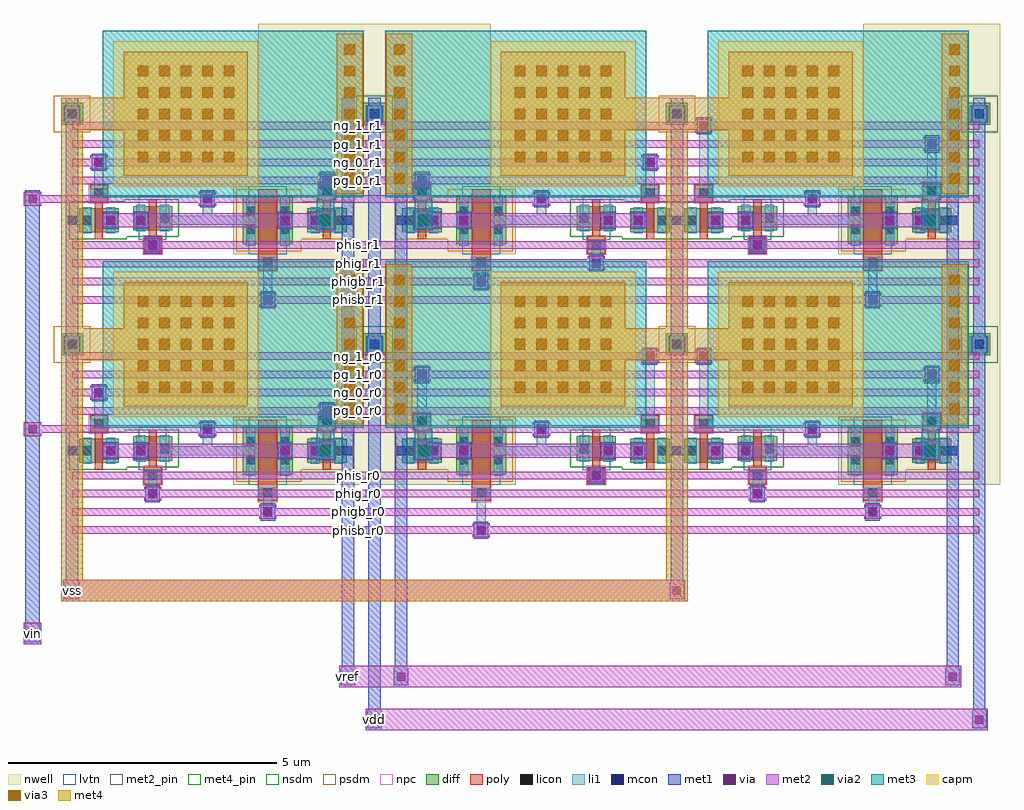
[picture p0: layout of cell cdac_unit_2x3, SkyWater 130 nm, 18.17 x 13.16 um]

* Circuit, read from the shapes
.subckt cdac_unit_2x3 ng_0_r0 ng_0_r1 ng_1_r0 ng_1_r1 pg_0_r0 pg_0_r1 pg_1_r0 pg_1_r1 phig_r0 phig_r1 phigb_r0 phigb_r1 phis_r0 phis_r1 phisb_r0 phisb_r1 top vdd vin vref vss
XM1 n1 ng_0_r0 vss VSUBS sky130_fd_pr__nfet_01v8 w=0.45 l=0.15
XM2 n2 ng_0_r1 vss VSUBS sky130_fd_pr__nfet_01v8 w=0.45 l=0.15
XM3 vin phig_r0 n1 VSUBS sky130_fd_pr__nfet_01v8_lvt w=0.45 l=0.15
XM4 vin phis_r1 n2 VSUBS sky130_fd_pr__nfet_01v8_lvt w=0.45 l=0.15
XM5 n3 phis_r0 vin VSUBS sky130_fd_pr__nfet_01v8_lvt w=0.45 l=0.15
XM6 n4 phig_r1 vin VSUBS sky130_fd_pr__nfet_01v8_lvt w=0.45 l=0.15
XM7 vss ng_1_r0 n3 VSUBS sky130_fd_pr__nfet_01v8 w=0.45 l=0.15
XM8 vss ng_0_r1 n4 VSUBS sky130_fd_pr__nfet_01v8 w=0.45 l=0.15
XM9 n5 ng_1_r0 vss VSUBS sky130_fd_pr__nfet_01v8 w=0.45 l=0.15
XM10 n6 ng_1_r1 vss VSUBS sky130_fd_pr__nfet_01v8 w=0.45 l=0.15
XM11 vin phig_r0 n5 VSUBS sky130_fd_pr__nfet_01v8_lvt w=0.45 l=0.15
XM12 vin phis_r1 n6 VSUBS sky130_fd_pr__nfet_01v8_lvt w=0.45 l=0.15
XM13 n1 phigb_r0 vin n7 sky130_fd_pr__pfet_01v8_lvt w=0.9 l=0.35
XM14 n2 phisb_r1 vin n7 sky130_fd_pr__pfet_01v8_lvt w=0.9 l=0.35
XM15 vref pg_0_r0 n1 n7 sky130_fd_pr__pfet_01v8 w=0.45 l=0.15
XM16 vref pg_0_r1 n2 n7 sky130_fd_pr__pfet_01v8 w=0.45 l=0.15
XM17 n3 pg_1_r0 vref n7 sky130_fd_pr__pfet_01v8 w=0.45 l=0.15
XM18 n4 pg_0_r1 vref n7 sky130_fd_pr__pfet_01v8 w=0.45 l=0.15
XM19 vin phisb_r0 n3 n7 sky130_fd_pr__pfet_01v8_lvt w=0.9 l=0.35
XM20 vin phigb_r1 n4 n7 sky130_fd_pr__pfet_01v8_lvt w=0.9 l=0.35
XM21 n5 phigb_r0 vin n8 sky130_fd_pr__pfet_01v8_lvt w=0.9 l=0.35
XM22 n6 phisb_r1 vin n8 sky130_fd_pr__pfet_01v8_lvt w=0.9 l=0.35
XM23 vref pg_1_r0 n5 n8 sky130_fd_pr__pfet_01v8 w=0.45 l=0.15
XM24 vref pg_1_r1 n6 n8 sky130_fd_pr__pfet_01v8 w=0.45 l=0.15
XC25 top n1 sky130_fd_pr__cap_mim_m3_1 w=2.7 l=2.7
XC26 top n2 sky130_fd_pr__cap_mim_m3_1 w=2.7 l=2.7
XC27 top n3 sky130_fd_pr__cap_mim_m3_1 w=2.7 l=2.7
XC28 top n4 sky130_fd_pr__cap_mim_m3_1 w=2.7 l=2.7
XC29 top n5 sky130_fd_pr__cap_mim_m3_1 w=2.7 l=2.7
XC30 top n6 sky130_fd_pr__cap_mim_m3_1 w=2.7 l=2.7
.ends

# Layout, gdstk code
import gdstk
lib = gdstk.Library(unit=1e-6, precision=5e-09)
def R(c, l, rs):  # rectangles x0, y0, x1, y1
    for r in rs: c.add(gdstk.rectangle(r[:2], r[2:], *l))
def A(c, l, x, y, w, h, nx, ny, dx, dy):  # array of equal rectangles
    R(c, l, [(x+i*dx, y+j*dy, x+i*dx+w, y+j*dy+h) for i in range(nx) for j in range(ny)])
nwell = (64, 20)
diff = (65, 20)
poly = (66, 20)
licon = (66, 44)
li1 = (67, 20)
mcon = (67, 44)
met1 = (68, 20)
via = (68, 44)
met2_pin = (69, 16)
met2 = (69, 20)
via2 = (69, 44)
met3 = (70, 20)
via3 = (70, 44)
met4_pin = (71, 16)
met4 = (71, 20)
capm = (89, 44)
nsdm = (93, 44)
psdm = (94, 20)
npc = (95, 20)
lvtn = (125, 44)

cdac_unit_2x3 = lib.new_cell('cdac_unit_2x3')
R(cdac_unit_2x3, nwell, [(3,1.375,6.015,2.635), (3.47,1.375,6.015,5.665), (5.245,1.375,8.26,2.635), (5.245,1.375,7.79,5.665), (14.26,1.375,17.275,2.635), (14.73,1.375,17.275,5.665), (3,5.665,6.015,6.925), (3.47,5.665,6.015,9.955), (5.245,5.665,8.26,6.925), (5.245,5.665,7.79,9.955), (14.26,5.665,17.275,6.925), (14.73,5.665,17.275,9.955)])
R(cdac_unit_2x3, diff, [(3.18,1.555,4.11,2.455), (7.15,1.555,8.08,2.455), (14.44,1.555,15.37,2.455), (0.135,1.78,0.865,2.23), (4.38,1.78,5.11,2.23), (6.15,1.78,6.88,2.23), (10.395,1.78,11.125,2.23), (11.395,1.78,12.125,2.23), (15.64,1.78,16.37,2.23), (1.135,1.82,1.865,2.27), (9.395,1.82,10.125,2.27), (12.395,1.82,13.125,2.27), (-0.205,3.78,0.205,4.19), (5.425,3.78,5.835,4.19), (5.425,3.78,5.835,4.19), (11.055,3.78,11.465,4.19), (11.055,3.78,11.465,4.19), (16.685,3.78,17.095,4.19), (3.18,5.845,4.11,6.745), (7.15,5.845,8.08,6.745), (14.44,5.845,15.37,6.745), (0.135,6.07,0.865,6.52), (4.38,6.07,5.11,6.52), (6.15,6.07,6.88,6.52), (10.395,6.07,11.125,6.52), (11.395,6.07,12.125,6.52), (15.64,6.07,16.37,6.52), (1.135,6.11,1.865,6.56), (9.395,6.11,10.125,6.56), (12.395,6.11,13.125,6.56), (-0.205,8.07,0.205,8.48), (5.425,8.07,5.835,8.48), (5.425,8.07,5.835,8.48), (11.055,8.07,11.465,8.48), (11.055,8.07,11.465,8.48), (16.685,8.07,17.095,8.48)])
R(cdac_unit_2x3, poly, [(3.47,1.07,3.82,2.585), (7.44,1.07,7.79,2.585), (14.73,1.07,15.08,2.585), (1.335,1.38,1.665,1.71), (9.595,1.38,9.925,1.71), (12.595,1.38,12.925,1.71), (0.425,1.65,0.575,2.34), (4.67,1.65,4.82,2.385), (6.44,1.65,6.59,2.385), (10.685,1.65,10.835,2.34), (11.685,1.65,11.835,2.34), (15.93,1.65,16.08,2.385), (1.425,1.71,1.575,2.4), (9.685,1.71,9.835,2.4), (12.685,1.71,12.835,2.4), (0.335,2.34,0.665,2.67), (10.595,2.34,10.925,2.67), (11.595,2.34,11.925,2.67), (4.58,2.385,4.91,2.715), (6.35,2.385,6.68,2.715), (15.84,2.385,16.17,2.715), (3.47,5.36,3.82,6.875), (7.44,5.36,7.79,6.875), (14.73,5.36,15.08,6.875), (1.335,5.67,1.665,6), (9.595,5.67,9.925,6), (12.595,5.67,12.925,6), (0.425,5.94,0.575,6.63), (4.67,5.94,4.82,6.675), (6.44,5.94,6.59,6.675), (10.685,5.94,10.835,6.63), (11.685,5.94,11.835,6.63), (15.93,5.94,16.08,6.675), (1.425,6,1.575,6.69), (9.685,6,9.835,6.69), (12.685,6,12.835,6.69), (0.335,6.63,0.665,6.96), (10.595,6.63,10.925,6.96), (11.595,6.63,11.925,6.96), (4.58,6.675,4.91,7.005), (6.35,6.675,6.68,7.005), (15.84,6.675,16.17,7.005)])
R(cdac_unit_2x3, licon, [(3.56,1.15,3.73,1.32), (7.53,1.15,7.7,1.32), (14.82,1.15,14.99,1.32), (1.415,1.46,1.585,1.63), (9.675,1.46,9.845,1.63), (12.675,1.46,12.845,1.63), (3.24,1.75,3.41,1.92), (3.88,1.75,4.05,1.92), (7.21,1.75,7.38,1.92), (7.85,1.75,8.02,1.92), (14.5,1.75,14.67,1.92), (15.14,1.75,15.31,1.92), (0.195,1.92,0.365,2.09), (0.635,1.92,0.805,2.09), (4.44,1.92,4.61,2.09), (4.88,1.92,5.05,2.09), (6.21,1.92,6.38,2.09), (6.65,1.92,6.82,2.09), (10.455,1.92,10.625,2.09), (10.895,1.92,11.065,2.09), (11.455,1.92,11.625,2.09), (11.895,1.92,12.065,2.09), (15.7,1.92,15.87,2.09), (16.14,1.92,16.31,2.09), (1.195,1.96,1.365,2.13), (1.635,1.96,1.805,2.13), (9.455,1.96,9.625,2.13), (9.895,1.96,10.065,2.13), (12.455,1.96,12.625,2.13), (12.895,1.96,13.065,2.13), (3.24,2.09,3.41,2.26), (3.88,2.09,4.05,2.26), (7.21,2.09,7.38,2.26), (7.85,2.09,8.02,2.26), (14.5,2.09,14.67,2.26), (15.14,2.09,15.31,2.26), (0.415,2.42,0.585,2.59), (10.675,2.42,10.845,2.59), (11.675,2.42,11.845,2.59), (4.66,2.465,4.83,2.635), (6.43,2.465,6.6,2.635), (15.92,2.465,16.09,2.635), (-0.085,3.9,0.085,4.07), (5.545,3.9,5.715,4.07), (5.545,3.9,5.715,4.07), (11.175,3.9,11.345,4.07), (11.175,3.9,11.345,4.07), (16.805,3.9,16.975,4.07), (3.56,5.44,3.73,5.61), (7.53,5.44,7.7,5.61), (14.82,5.44,14.99,5.61), (1.415,5.75,1.585,5.92), (9.675,5.75,9.845,5.92), (12.675,5.75,12.845,5.92), (3.24,6.04,3.41,6.21), (3.88,6.04,4.05,6.21), (7.21,6.04,7.38,6.21), (7.85,6.04,8.02,6.21), (14.5,6.04,14.67,6.21), (15.14,6.04,15.31,6.21), (0.195,6.21,0.365,6.38), (0.635,6.21,0.805,6.38), (4.44,6.21,4.61,6.38), (4.88,6.21,5.05,6.38), (6.21,6.21,6.38,6.38), (6.65,6.21,6.82,6.38), (10.455,6.21,10.625,6.38), (10.895,6.21,11.065,6.38), (11.455,6.21,11.625,6.38), (11.895,6.21,12.065,6.38), (15.7,6.21,15.87,6.38), (16.14,6.21,16.31,6.38), (1.195,6.25,1.365,6.42), (1.635,6.25,1.805,6.42), (9.455,6.25,9.625,6.42), (9.895,6.25,10.065,6.42), (12.455,6.25,12.625,6.42), (12.895,6.25,13.065,6.42), (3.24,6.38,3.41,6.55), (3.88,6.38,4.05,6.55), (7.21,6.38,7.38,6.55), (7.85,6.38,8.02,6.55), (14.5,6.38,14.67,6.55), (15.14,6.38,15.31,6.55), (0.415,6.71,0.585,6.88), (10.675,6.71,10.845,6.88), (11.675,6.71,11.845,6.88), (4.66,6.755,4.83,6.925), (6.43,6.755,6.6,6.925), (15.92,6.755,16.09,6.925), (-0.085,8.19,0.085,8.36), (5.545,8.19,5.715,8.36), (5.545,8.19,5.715,8.36), (11.175,8.19,11.345,8.36), (11.175,8.19,11.345,8.36), (16.805,8.19,16.975,8.36)])
R(cdac_unit_2x3, li1, [(7.53,0.44,7.7,1.32), (3.56,0.78,3.73,1.32), (14.82,0.78,14.99,1.32), (1.415,1.12,1.585,1.63), (12.675,1.12,12.845,1.63), (3.47,1.15,3.82,1.32), (7.44,1.15,7.79,1.32), (14.73,1.15,15.08,1.32), (1.335,1.46,1.665,1.63), (9.595,1.46,9.925,1.63), (9.675,1.46,9.845,1.63), (12.595,1.46,12.925,1.63), (3.24,1.535,3.41,2.475), (3.88,1.535,4.05,2.475), (7.21,1.535,7.38,2.475), (7.85,1.535,8.02,2.475), (14.5,1.535,14.67,2.475), (15.14,1.535,15.31,2.475), (0.195,1.76,0.365,2.25), (0.635,1.76,0.805,2.25), (4.44,1.76,4.61,2.25), (4.88,1.76,5.05,2.25), (6.21,1.76,6.38,2.25), (6.65,1.76,6.82,2.25), (10.455,1.76,10.625,2.25), (10.895,1.76,11.065,2.25), (11.455,1.76,11.625,2.25), (11.895,1.76,12.065,2.25), (15.7,1.76,15.87,2.25), (16.14,1.76,16.31,2.25), (1.195,1.8,1.365,2.29), (1.635,1.8,1.805,2.29), (9.455,1.8,9.625,2.29), (9.895,1.8,10.065,2.29), (12.455,1.8,12.625,2.29), (12.895,1.8,13.065,2.29), (-0.085,1.92,0.28,2.09), (1.72,1.92,3.325,2.09), (4.965,1.92,5.22,2.09), (6.04,1.92,6.295,2.09), (7.935,1.92,9.54,2.09), (10.98,1.92,11.345,2.09), (11.175,1.92,11.54,2.09), (12.98,1.92,14.585,2.09), (16.225,1.92,16.48,2.09), (2.435,2.005,2.605,2.49), (8.655,2.005,8.825,2.49), (13.695,2.005,13.865,2.49), (0.335,2.42,0.665,2.59), (0.415,2.42,0.585,3.17), (10.595,2.42,10.925,2.59), (10.675,2.42,10.845,3.85), (11.595,2.42,11.925,2.59), (11.675,2.42,11.845,3.85), (4.58,2.465,4.91,2.635), (4.66,2.465,4.83,2.83), (6.35,2.465,6.68,2.635), (6.43,2.465,6.6,3.51), (15.84,2.465,16.17,2.635), (15.92,2.465,16.09,3.51), (-0.165,3.82,0.165,4.15), (5.465,3.82,5.795,4.15), (5.465,3.82,5.795,4.15), (11.095,3.82,11.425,4.15), (11.095,3.82,11.425,4.15), (16.725,3.82,17.055,4.15), (3.56,4.73,3.73,5.61), (14.82,4.73,14.99,5.61), (7.53,5.07,7.7,5.61), (9.675,5.41,9.845,5.92), (3.47,5.44,3.82,5.61), (7.44,5.44,7.79,5.61), (14.73,5.44,15.08,5.61), (1.335,5.75,1.665,5.92), (1.415,5.75,1.585,5.92), (9.595,5.75,9.925,5.92), (12.595,5.75,12.925,5.92), (12.675,5.75,12.845,5.92), (3.24,5.825,3.41,6.765), (3.88,5.825,4.05,6.765), (7.21,5.825,7.38,6.765), (7.85,5.825,8.02,6.765), (14.5,5.825,14.67,6.765), (15.14,5.825,15.31,6.765), (0.195,6.05,0.365,6.54), (0.635,6.05,0.805,6.54), (4.44,6.05,4.61,6.54), (4.88,6.05,5.05,6.54), (6.21,6.05,6.38,6.54), (6.65,6.05,6.82,6.54), (10.455,6.05,10.625,6.54), (10.895,6.05,11.065,6.54), (11.455,6.05,11.625,6.54), (11.895,6.05,12.065,6.54), (15.7,6.05,15.87,6.54), (16.14,6.05,16.31,6.54), (1.195,6.09,1.365,6.58), (1.635,6.09,1.805,6.58), (9.455,6.09,9.625,6.58), (9.895,6.09,10.065,6.58), (12.455,6.09,12.625,6.58), (12.895,6.09,13.065,6.58), (-0.085,6.21,0.28,6.38), (1.72,6.21,3.325,6.38), (4.965,6.21,5.22,6.38), (6.04,6.21,6.295,6.38), (7.935,6.21,9.54,6.38), (10.98,6.21,11.345,6.38), (11.175,6.21,11.54,6.38), (12.98,6.21,14.585,6.38), (16.225,6.21,16.48,6.38), (2.435,6.295,2.605,6.78), (8.655,6.295,8.825,6.78), (13.695,6.295,13.865,6.78), (0.335,6.71,0.665,6.88), (0.415,6.71,0.585,7.46), (10.595,6.71,10.925,6.88), (10.675,6.71,10.845,7.46), (11.595,6.71,11.925,6.88), (11.675,6.71,11.845,8.14), (4.58,6.755,4.91,6.925), (4.66,6.755,4.83,7.12), (6.35,6.755,6.68,6.925), (6.43,6.755,6.6,7.12), (15.84,6.755,16.17,6.925), (15.92,6.755,16.09,7.8), (-0.165,8.11,0.165,8.44), (5.465,8.11,5.795,8.44), (5.465,8.11,5.795,8.44), (11.095,8.11,11.425,8.44), (11.095,8.11,11.425,8.44), (16.725,8.11,17.055,8.44)])
R(cdac_unit_2x3, mcon, [(7.53,0.44,7.7,0.61), (3.56,0.78,3.73,0.95), (14.82,0.78,14.99,0.95), (1.415,1.12,1.585,1.29), (12.675,1.12,12.845,1.29), (9.675,1.46,9.845,1.63), (-0.085,1.92,0.085,2.09), (0.635,1.92,0.805,2.09), (1.195,1.92,1.365,2.09), (3.88,1.92,4.05,2.09), (4.44,1.92,4.61,2.09), (5.05,1.92,5.22,2.09), (6.04,1.92,6.21,2.09), (6.65,1.92,6.82,2.09), (7.21,1.92,7.38,2.09), (9.895,1.92,10.065,2.09), (10.455,1.92,10.625,2.09), (11.175,1.92,11.345,2.09), (11.175,1.92,11.345,2.09), (11.895,1.92,12.065,2.09), (12.455,1.92,12.625,2.09), (15.14,1.92,15.31,2.09), (15.7,1.92,15.87,2.09), (16.31,1.92,16.48,2.09), (2.435,2.32,2.605,2.49), (8.655,2.32,8.825,2.49), (13.695,2.32,13.865,2.49), (4.66,2.66,4.83,2.83), (0.415,3,0.585,3.17), (6.43,3.34,6.6,3.51), (15.92,3.34,16.09,3.51), (10.675,3.68,10.845,3.85), (11.675,3.68,11.845,3.85), (-0.085,3.9,0.085,4.07), (5.545,3.9,5.715,4.07), (5.545,3.9,5.715,4.07), (11.175,3.9,11.345,4.07), (11.175,3.9,11.345,4.07), (16.805,3.9,16.975,4.07), (3.56,4.73,3.73,4.9), (14.82,4.73,14.99,4.9), (7.53,5.07,7.7,5.24), (9.675,5.41,9.845,5.58), (1.415,5.75,1.585,5.92), (12.675,5.75,12.845,5.92), (-0.085,6.21,0.085,6.38), (0.635,6.21,0.805,6.38), (1.195,6.21,1.365,6.38), (3.88,6.21,4.05,6.38), (4.44,6.21,4.61,6.38), (5.05,6.21,5.22,6.38), (6.04,6.21,6.21,6.38), (6.65,6.21,6.82,6.38), (7.21,6.21,7.38,6.38), (9.895,6.21,10.065,6.38), (10.455,6.21,10.625,6.38), (11.175,6.21,11.345,6.38), (11.175,6.21,11.345,6.38), (11.895,6.21,12.065,6.38), (12.455,6.21,12.625,6.38), (15.14,6.21,15.31,6.38), (15.7,6.21,15.87,6.38), (16.31,6.21,16.48,6.38), (2.435,6.61,2.605,6.78), (8.655,6.61,8.825,6.78), (13.695,6.61,13.865,6.78), (4.66,6.95,4.83,7.12), (6.43,6.95,6.6,7.12), (0.415,7.29,0.585,7.46), (10.675,7.29,10.845,7.46), (15.92,7.63,16.09,7.8), (11.675,7.97,11.845,8.14), (-0.085,8.19,0.085,8.36), (5.545,8.19,5.715,8.36), (5.545,8.19,5.715,8.36), (11.175,8.19,11.345,8.36), (11.175,8.19,11.345,8.36), (16.805,8.19,16.975,8.36)])
R(cdac_unit_2x3, met1, [(5.495,-3.16,5.765,-2.84), (16.755,-3.16,17.025,-2.84), (5.515,-3,5.745,0), (16.775,-3,17.005,0), (5,-2.36,5.27,-2.04), (5.99,-2.36,6.26,-2.04), (16.26,-2.36,16.53,-2.04), (5.02,-2.2,5.25,0), (6.01,-2.2,6.24,0), (16.28,-2.2,16.51,0), (-0.87,-1.56,-0.6,-1.24), (-0.87,-1.4,-0.6,6.695), (-0.135,-0.76,0.135,-0.44), (11.125,-0.76,11.395,-0.44), (-0.115,-0.6,0.115,0), (11.145,-0.6,11.375,0), (-0.115,0,0.115,4.29), (5.02,0,5.25,4.29), (5.515,0,5.745,4.29), (5.515,0,5.745,4.29), (6.01,0,6.24,4.29), (11.145,0,11.375,4.29), (11.145,0,11.375,4.29), (16.28,0,16.51,4.29), (16.775,0,17.005,4.29), (7.48,0.365,7.75,0.685), (3.51,0.705,3.78,1.025), (14.77,0.705,15.04,1.025), (1.365,1.045,1.635,1.365), (12.625,1.045,12.895,1.365), (9.625,1.385,9.895,1.705), (0.585,1.845,0.855,2.165), (1.145,1.845,1.415,2.165), (3.83,1.845,4.1,2.165), (4.39,1.845,4.66,2.165), (6.6,1.845,6.87,2.165), (7.16,1.845,7.43,2.165), (9.845,1.845,10.115,2.165), (10.405,1.845,10.675,2.165), (11.845,1.845,12.115,2.165), (12.405,1.845,12.675,2.165), (15.09,1.845,15.36,2.165), (15.65,1.845,15.92,2.165), (-0.115,1.865,0.115,2.145), (5.02,1.865,5.25,2.145), (6.01,1.865,6.24,2.145), (11.145,1.865,11.375,2.145), (11.145,1.865,11.375,2.145), (16.28,1.865,16.51,2.145), (-0.87,2.245,-0.6,2.565), (2.385,2.245,2.655,2.565), (8.605,2.245,8.875,2.565), (13.645,2.245,13.915,2.565), (4.61,2.585,4.88,2.905), (0.365,2.925,0.635,3.245), (6.38,3.265,6.65,3.585), (15.87,3.265,16.14,3.585), (10.625,3.605,10.895,3.925), (11.625,3.605,11.895,3.925), (-0.145,3.84,0.145,4.13), (5.485,3.84,5.775,4.13), (5.485,3.84,5.775,4.13), (11.115,3.84,11.405,4.13), (11.115,3.84,11.405,4.13), (16.745,3.84,17.035,4.13), (-0.115,4.29,0.115,8.58), (5.02,4.29,5.25,8.58), (5.515,4.29,5.745,8.58), (5.515,4.29,5.745,8.58), (6.01,4.29,6.24,8.58), (11.145,4.29,11.375,8.58), (11.145,4.29,11.375,8.58), (16.28,4.29,16.51,8.58), (16.775,4.29,17.005,8.58), (3.51,4.655,3.78,4.975), (14.77,4.655,15.04,4.975), (7.48,4.995,7.75,5.315), (9.625,5.335,9.895,5.655), (1.365,5.675,1.635,5.995), (12.625,5.675,12.895,5.995), (0.585,6.135,0.855,6.455), (1.145,6.135,1.415,6.455), (3.83,6.135,4.1,6.455), (4.39,6.135,4.66,6.455), (6.6,6.135,6.87,6.455), (7.16,6.135,7.43,6.455), (9.845,6.135,10.115,6.455), (10.405,6.135,10.675,6.455), (11.845,6.135,12.115,6.455), (12.405,6.135,12.675,6.455), (15.09,6.135,15.36,6.455), (15.65,6.135,15.92,6.455), (-0.115,6.155,0.115,6.435), (5.02,6.155,5.25,6.435), (6.01,6.155,6.24,6.435), (11.145,6.155,11.375,6.435), (11.145,6.155,11.375,6.435), (16.28,6.155,16.51,6.435), (-0.87,6.535,-0.6,6.855), (2.385,6.535,2.655,6.855), (8.605,6.535,8.875,6.855), (13.645,6.535,13.915,6.855), (4.61,6.875,4.88,7.195), (6.38,6.875,6.65,7.195), (0.365,7.215,0.635,7.535), (10.625,7.215,10.895,7.535), (15.87,7.555,16.14,7.875), (11.625,7.895,11.895,8.215), (-0.145,8.13,0.145,8.42), (5.485,8.13,5.775,8.42), (5.485,8.13,5.775,8.42), (11.115,8.13,11.405,8.42), (11.115,8.13,11.405,8.42), (16.745,8.13,17.035,8.42)])
R(cdac_unit_2x3, via, [(5.555,-3.075,5.705,-2.925), (16.815,-3.075,16.965,-2.925), (5.06,-2.275,5.21,-2.125), (6.05,-2.275,6.2,-2.125), (16.32,-2.275,16.47,-2.125), (-0.81,-1.475,-0.66,-1.325), (-0.075,-0.675,0.075,-0.525), (11.185,-0.675,11.335,-0.525), (7.54,0.45,7.69,0.6), (3.57,0.79,3.72,0.94), (14.83,0.79,14.98,0.94), (1.425,1.13,1.575,1.28), (12.685,1.13,12.835,1.28), (9.685,1.47,9.835,1.62), (0.645,1.93,0.795,2.08), (1.205,1.93,1.355,2.08), (3.89,1.93,4.04,2.08), (4.45,1.93,4.6,2.08), (6.66,1.93,6.81,2.08), (7.22,1.93,7.37,2.08), (9.905,1.93,10.055,2.08), (10.465,1.93,10.615,2.08), (11.905,1.93,12.055,2.08), (12.465,1.93,12.615,2.08), (15.15,1.93,15.3,2.08), (15.71,1.93,15.86,2.08), (-0.81,2.33,-0.66,2.48), (2.445,2.33,2.595,2.48), (8.665,2.33,8.815,2.48), (13.705,2.33,13.855,2.48), (4.67,2.67,4.82,2.82), (0.425,3.01,0.575,3.16), (6.44,3.35,6.59,3.5), (15.93,3.35,16.08,3.5), (10.685,3.69,10.835,3.84), (11.685,3.69,11.835,3.84), (3.57,4.74,3.72,4.89), (14.83,4.74,14.98,4.89), (7.54,5.08,7.69,5.23), (9.685,5.42,9.835,5.57), (1.425,5.76,1.575,5.91), (12.685,5.76,12.835,5.91), (0.645,6.22,0.795,6.37), (1.205,6.22,1.355,6.37), (3.89,6.22,4.04,6.37), (4.45,6.22,4.6,6.37), (6.66,6.22,6.81,6.37), (7.22,6.22,7.37,6.37), (9.905,6.22,10.055,6.37), (10.465,6.22,10.615,6.37), (11.905,6.22,12.055,6.37), (12.465,6.22,12.615,6.37), (15.15,6.22,15.3,6.37), (15.71,6.22,15.86,6.37), (-0.81,6.62,-0.66,6.77), (2.445,6.62,2.595,6.77), (8.665,6.62,8.815,6.77), (13.705,6.62,13.855,6.77), (4.67,6.96,4.82,7.11), (6.44,6.96,6.59,7.11), (0.425,7.3,0.575,7.45), (10.685,7.3,10.835,7.45), (15.93,7.64,16.08,7.79), (11.685,7.98,11.835,8.13)])
A(cdac_unit_2x3, met2_pin, 5.18, 0.455, 0.3, 0.14, 1, 4, 0, 0.34)
A(cdac_unit_2x3, met2_pin, 5.18, 2.675, 0.3, 0.14, 1, 4, 0, 0.34)
A(cdac_unit_2x3, met2_pin, 5.18, 4.745, 0.3, 0.14, 1, 4, 0, 0.34)
A(cdac_unit_2x3, met2_pin, 5.18, 6.965, 0.3, 0.14, 1, 4, 0, 0.34)
R(cdac_unit_2x3, met2_pin, [(5.48,-3.08,5.78,-2.92), (4.985,-2.28,5.285,-2.12), (-0.885,-1.48,-0.585,-1.32), (-0.15,-0.68,0.15,-0.52)])
A(cdac_unit_2x3, met2, 0, 0.455, 5.63, 0.14, 3, 4, 5.63, 0.34)
A(cdac_unit_2x3, met2, 0, 2.335, 5.63, 0.14, 3, 5, 5.63, 0.34)
A(cdac_unit_2x3, met2, 0, 4.745, 5.63, 0.14, 3, 4, 5.63, 0.34)
A(cdac_unit_2x3, met2, 0, 6.625, 5.63, 0.14, 3, 5, 5.63, 0.34)
R(cdac_unit_2x3, met2, [(5.47,-3.2,17.05,-2.8), (5.47,-3.13,5.79,-2.87), (16.73,-3.13,17.05,-2.87), (4.975,-2.4,16.555,-2), (4.975,-2.33,5.295,-2.07), (5.965,-2.33,6.285,-2.07), (16.235,-2.33,16.555,-2.07), (-0.895,-1.6,-0.575,-1.2), (-0.895,-1.53,-0.575,-1.27), (-0.16,-0.8,11.42,-0.4), (-0.16,-0.73,0.16,-0.47), (11.1,-0.73,11.42,-0.47), (7.455,0.395,7.775,0.655), (3.485,0.735,3.805,0.995), (14.745,0.735,15.065,0.995), (1.34,1.075,1.66,1.335), (12.6,1.075,12.92,1.335), (9.6,1.415,9.92,1.675), (4.535,1.82,4.905,2.19), (6.355,1.82,6.725,2.19), (15.795,1.82,16.165,2.19), (0.56,1.875,0.88,2.135), (0.56,1.875,4.905,2.135), (1.12,1.875,1.44,2.135), (3.805,1.875,4.125,2.135), (4.365,1.875,4.685,2.135), (6.355,1.875,10.7,2.135), (6.575,1.875,6.895,2.135), (7.135,1.875,7.455,2.135), (9.82,1.875,10.14,2.135), (10.38,1.875,10.7,2.135), (11.82,1.875,12.14,2.135), (11.82,1.875,16.165,2.135), (12.38,1.875,12.7,2.135), (15.065,1.875,15.385,2.135), (15.625,1.875,15.945,2.135), (-0.895,2.275,-0.575,2.535), (2.36,2.275,2.68,2.535), (8.58,2.275,8.9,2.535), (13.62,2.275,13.94,2.535), (-0.735,2.335,0,2.475), (4.585,2.615,4.905,2.875), (0.34,2.955,0.66,3.215), (6.355,3.295,6.675,3.555), (15.845,3.295,16.165,3.555), (10.6,3.635,10.92,3.895), (11.6,3.635,11.92,3.895), (3.485,4.685,3.805,4.945), (14.745,4.685,15.065,4.945), (7.455,5.025,7.775,5.285), (9.6,5.365,9.92,5.625), (1.34,5.705,1.66,5.965), (12.6,5.705,12.92,5.965), (4.535,6.11,4.905,6.48), (6.355,6.11,6.725,6.48), (15.795,6.11,16.165,6.48), (0.56,6.165,0.88,6.425), (0.56,6.165,4.905,6.425), (1.12,6.165,1.44,6.425), (3.805,6.165,4.125,6.425), (4.365,6.165,4.685,6.425), (6.355,6.165,10.7,6.425), (6.575,6.165,6.895,6.425), (7.135,6.165,7.455,6.425), (9.82,6.165,10.14,6.425), (10.38,6.165,10.7,6.425), (11.82,6.165,12.14,6.425), (11.82,6.165,16.165,6.425), (12.38,6.165,12.7,6.425), (15.065,6.165,15.385,6.425), (15.625,6.165,15.945,6.425), (-0.895,6.565,-0.575,6.825), (2.36,6.565,2.68,6.825), (8.58,6.565,8.9,6.825), (13.62,6.565,13.94,6.825), (-0.735,6.625,0,6.765), (4.585,6.905,4.905,7.165), (6.355,6.905,6.675,7.165), (0.34,7.245,0.66,7.505), (10.6,7.245,10.92,7.505), (15.845,7.585,16.165,7.845), (11.6,7.925,11.92,8.185)])
R(cdac_unit_2x3, via2, [(4.62,1.905,4.82,2.105), (6.44,1.905,6.64,2.105), (15.88,1.905,16.08,2.105), (4.62,6.195,4.82,6.395), (6.44,6.195,6.64,6.395), (15.88,6.195,16.08,6.395)])
R(cdac_unit_2x3, met3, [(4.555,1.84,4.885,2.635), (6.375,1.84,6.705,2.635), (15.815,1.84,16.145,2.635), (0.57,2.435,5.43,5.535), (5.83,2.435,10.69,5.535), (11.83,2.435,16.69,5.535), (4.555,6.13,4.885,6.925), (6.375,6.13,6.705,6.925), (15.815,6.13,16.145,6.925), (0.57,6.725,5.43,9.825), (5.83,6.725,10.69,9.825), (11.83,6.725,16.69,9.825)])
A(cdac_unit_2x3, via3, 5.07, 2.685, 0.2, 0.2, 1, 7, 0, 0.4)
A(cdac_unit_2x3, via3, 5.99, 2.685, 0.2, 0.2, 1, 7, 0, 0.4)
A(cdac_unit_2x3, via3, 16.33, 2.685, 0.2, 0.2, 1, 7, 0, 0.4)
A(cdac_unit_2x3, via3, 1.22, 3.085, 0.2, 0.2, 5, 5, 0.4, 0.4)
A(cdac_unit_2x3, via3, 8.24, 3.085, 0.2, 0.2, 5, 5, 0.4, 0.4)
A(cdac_unit_2x3, via3, 12.48, 3.085, 0.2, 0.2, 5, 5, 0.4, 0.4)
A(cdac_unit_2x3, via3, 5.07, 6.975, 0.2, 0.2, 1, 7, 0, 0.4)
A(cdac_unit_2x3, via3, 5.99, 6.975, 0.2, 0.2, 1, 7, 0, 0.4)
A(cdac_unit_2x3, via3, 16.33, 6.975, 0.2, 0.2, 1, 7, 0, 0.4)
A(cdac_unit_2x3, via3, 1.22, 7.375, 0.2, 0.2, 5, 5, 0.4, 0.4)
A(cdac_unit_2x3, via3, 8.24, 7.375, 0.2, 0.2, 5, 5, 0.4, 0.4)
A(cdac_unit_2x3, via3, 12.48, 7.375, 0.2, 0.2, 5, 5, 0.4, 0.4)
R(cdac_unit_2x3, met4_pin, [(-0.15,-0.68,0.15,-0.52)])
R(cdac_unit_2x3, met4, [(-0.2,-0.8,0.2,0), (-0.2,-0.8,11.46,-0.4), (11.06,-0.8,11.46,0), (-0.2,0,0.2,4.29), (11.06,0,11.46,4.29), (11.06,0,11.46,4.29), (4.93,2.495,5.41,5.475), (5.85,2.495,6.33,5.475), (16.19,2.495,16.67,5.475), (0.965,2.83,3.275,5.14), (7.985,2.83,10.295,5.14), (12.225,2.83,14.535,5.14), (0,3.685,1.165,4.285), (10.095,3.685,11.26,4.285), (11.26,3.685,12.425,4.285), (-0.2,4.29,0.2,8.58), (11.06,4.29,11.46,8.58), (11.06,4.29,11.46,8.58), (4.93,6.785,5.41,9.765), (5.85,6.785,6.33,9.765), (16.19,6.785,16.67,9.765), (0.965,7.12,3.275,9.43), (7.985,7.12,10.295,9.43), (12.225,7.12,14.535,9.43), (0,7.975,1.165,8.575), (10.095,7.975,11.26,8.575), (11.26,7.975,12.425,8.575)])
R(cdac_unit_2x3, capm, [(0.77,2.635,3.47,5.335), (7.79,2.635,10.49,5.335), (12.03,2.635,14.73,5.335), (0.77,6.925,3.47,9.625), (7.79,6.925,10.49,9.625), (12.03,6.925,14.73,9.625)])
R(cdac_unit_2x3, nsdm, [(-0.05,1.655,0.02,2.355), (0.01,1.655,0.99,2.355), (0.98,1.655,1.02,2.395), (10.24,1.655,10.28,2.395), (10.27,1.655,11.25,2.355), (11.21,1.655,11.28,2.355), (11.24,1.655,11.31,2.355), (11.27,1.655,12.25,2.355), (12.24,1.655,12.28,2.395), (1.01,1.695,1.99,2.395), (9.27,1.695,10.25,2.395), (12.27,1.695,13.25,2.395), (5.29,3.645,5.97,4.325), (5.29,3.645,5.97,4.325), (16.55,3.645,17.23,4.325), (-0.05,5.945,0.02,6.645), (0.01,5.945,0.99,6.645), (0.98,5.945,1.02,6.685), (10.24,5.945,10.28,6.685), (10.27,5.945,11.25,6.645), (11.21,5.945,11.28,6.645), (11.24,5.945,11.31,6.645), (11.27,5.945,12.25,6.645), (12.24,5.945,12.28,6.685), (1.01,5.985,1.99,6.685), (9.27,5.985,10.25,6.685), (12.27,5.985,13.25,6.685), (5.29,7.935,5.97,8.615), (5.29,7.935,5.97,8.615), (16.55,7.935,17.23,8.615)])
R(cdac_unit_2x3, psdm, [(3.055,1.43,4.235,2.58), (4.225,1.43,4.265,2.58), (6.995,1.43,7.035,2.58), (7.025,1.43,8.205,2.58), (14.315,1.43,15.495,2.58), (15.485,1.43,15.525,2.58), (4.255,1.655,5.235,2.355), (6.025,1.655,7.005,2.355), (15.515,1.655,16.495,2.355), (-0.34,3.645,0.34,4.325), (10.92,3.645,11.6,4.325), (10.92,3.645,11.6,4.325), (3.055,5.72,4.235,6.87), (4.225,5.72,4.265,6.87), (6.995,5.72,7.035,6.87), (7.025,5.72,8.205,6.87), (14.315,5.72,15.495,6.87), (15.485,5.72,15.525,6.87), (4.255,5.945,5.235,6.645), (6.025,5.945,7.005,6.645), (15.515,5.945,16.495,6.645), (-0.34,7.935,0.34,8.615), (10.92,7.935,11.6,8.615), (10.92,7.935,11.6,8.615)])
R(cdac_unit_2x3, npc, [(3.46,1.05,3.83,1.42), (7.43,1.05,7.8,1.42), (14.72,1.05,15.09,1.42), (1.315,1.36,1.685,1.73), (9.575,1.36,9.945,1.73), (12.575,1.36,12.945,1.73), (0.315,2.32,0.685,2.69), (10.575,2.32,10.945,2.69), (11.575,2.32,11.945,2.69), (4.56,2.365,4.93,2.735), (6.33,2.365,6.7,2.735), (15.82,2.365,16.19,2.735), (3.46,5.34,3.83,5.71), (7.43,5.34,7.8,5.71), (14.72,5.34,15.09,5.71), (1.315,5.65,1.685,6.02), (9.575,5.65,9.945,6.02), (12.575,5.65,12.945,6.02), (0.315,6.61,0.685,6.98), (10.575,6.61,10.945,6.98), (11.575,6.61,11.945,6.98), (4.56,6.655,4.93,7.025), (6.33,6.655,6.7,7.025), (15.82,6.655,16.19,7.025)])
R(cdac_unit_2x3, lvtn, [(3.29,1.375,4,2.635), (7.26,1.375,7.97,2.635), (14.55,1.375,15.26,2.635), (1.245,1.64,1.755,2.45), (9.505,1.64,10.015,2.45), (12.505,1.64,13.015,2.45), (3.29,5.665,4,6.925), (7.26,5.665,7.97,6.925), (14.55,5.665,15.26,6.925), (1.245,5.93,1.755,6.74), (9.505,5.93,10.015,6.74), (12.505,5.93,13.015,6.74)])
cdac_unit_2x3.add(gdstk.Label('phisb_r0', (5.33,0.525), layer=69, texttype=5))
cdac_unit_2x3.add(gdstk.Label('phigb_r0', (5.33,0.865), layer=69, texttype=5))
cdac_unit_2x3.add(gdstk.Label('phig_r0', (5.33,1.205), layer=69, texttype=5))
cdac_unit_2x3.add(gdstk.Label('phis_r0', (5.33,1.545), layer=69, texttype=5))
cdac_unit_2x3.add(gdstk.Label('pg_0_r0', (5.33,2.745), layer=69, texttype=5))
cdac_unit_2x3.add(gdstk.Label('ng_0_r0', (5.33,3.085), layer=69, texttype=5))
cdac_unit_2x3.add(gdstk.Label('pg_1_r0', (5.33,3.425), layer=69, texttype=5))
cdac_unit_2x3.add(gdstk.Label('ng_1_r0', (5.33,3.765), layer=69, texttype=5))
cdac_unit_2x3.add(gdstk.Label('phisb_r1', (5.33,4.815), layer=69, texttype=5))
cdac_unit_2x3.add(gdstk.Label('phigb_r1', (5.33,5.155), layer=69, texttype=5))
cdac_unit_2x3.add(gdstk.Label('phig_r1', (5.33,5.495), layer=69, texttype=5))
cdac_unit_2x3.add(gdstk.Label('phis_r1', (5.33,5.835), layer=69, texttype=5))
cdac_unit_2x3.add(gdstk.Label('pg_0_r1', (5.33,7.035), layer=69, texttype=5))
cdac_unit_2x3.add(gdstk.Label('ng_0_r1', (5.33,7.375), layer=69, texttype=5))
cdac_unit_2x3.add(gdstk.Label('pg_1_r1', (5.33,7.715), layer=69, texttype=5))
cdac_unit_2x3.add(gdstk.Label('ng_1_r1', (5.33,8.055), layer=69, texttype=5))
cdac_unit_2x3.add(gdstk.Label('vss', (0,-0.6), layer=69, texttype=5))
cdac_unit_2x3.add(gdstk.Label('vin', (-0.735,-1.4), layer=69, texttype=5))
cdac_unit_2x3.add(gdstk.Label('vref', (5.135,-2.2), layer=69, texttype=5))
cdac_unit_2x3.add(gdstk.Label('vdd', (5.63,-3), layer=69, texttype=5))
cdac_unit_2x3.add(gdstk.Label('top', (0,-0.6), layer=71, texttype=5))

lib.write_gds('cdac_unit_2x3.gds')
